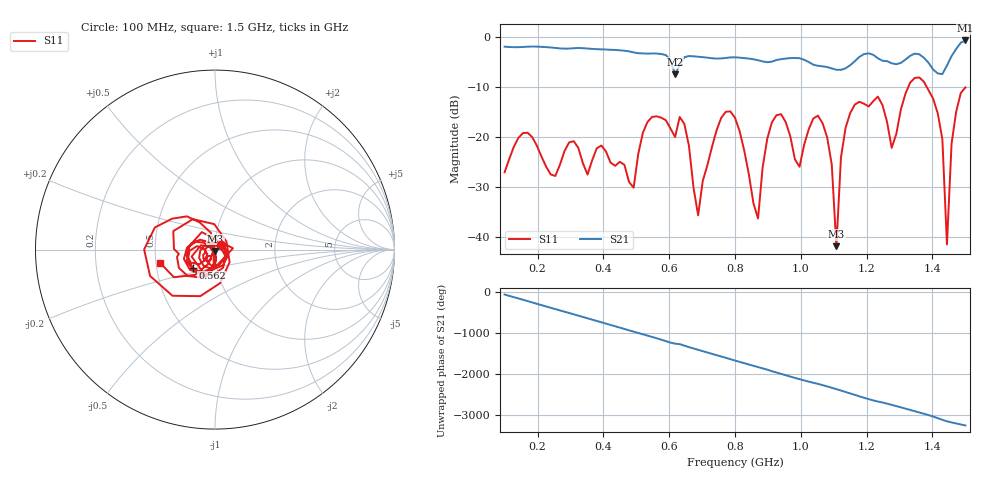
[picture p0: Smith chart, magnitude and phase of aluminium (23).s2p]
! NanoVNA-App
! Date: 2025-09-25 14:55:27
! Start: 100MHz Stop: 1,5GHz Points: 101
! S-Parameter data: F S11 S21 S12 S22
# Hz S RI R 50
!  Frequency  S11_Real  S11_Imag  S21_Real  S21_Imag  S12_Real  S12_Imag  S22_Real  S22_Imag
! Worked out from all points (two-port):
!   101 points, 100 MHz to 1.5 GHz, reference 50 ohm
!   highest |S21| = -0.68 dB at 1.5 GHz (marker M1); lowest = -7.4 dB at 618 MHz (marker M2)
!   |S21| within 3 dB of the highest: start of sweep to 591.1 MHz; 1.185 GHz to 1.223 GHz (37.84 MHz wide, 3.14 % of centre) (the widest 2 of 4)
!   lowest |S11| = -41.8 dB at 1.108 GHz (marker M3), VSWR 1.02, Z = 50.2 - j0.802 ohm
!   |S11| at or under -10 dB: start of sweep to 1.326 GHz; 1.383 GHz to end of sweep
!   S12 and S22 are empty: the file has one direction only
!   S11 on the Smith chart (normalised r, x): 100 MHz: 1.07, +0.06; 562 MHz: 0.76, -0.16; 1.5 GHz: 0.53, -0.09
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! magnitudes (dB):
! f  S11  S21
! 100 MHz  -27.0  -1.9
! 338 MHz  -25.2  -2.2
! 492 MHz  -30.1  -3.1
! 562 MHz  -15.8  -3.3
! 576 MHz  -16.1  -3.4
! 618 MHz  -20.0  -7.4
! 688 MHz  -35.6  -3.9
! 800 MHz  -16.1  -4.0
! 870 MHz  -36.2  -4.6
! 912 MHz  -17.0  -4.9
! 996 MHz  -25.9  -4.2
! 1.038 GHz  -16.3  -5.5
! 1.08 GHz  -20.0  -6.0
! 1.108 GHz  -41.8  -6.5
! 1.122 GHz  -24.0  -6.5
! 1.164 GHz  -13.5  -4.8
! 1.276 GHz  -22.1  -5.2
! 1.374 GHz  -8.9  -4.1
! 1.43 GHz  -20.4  -7.4
! 1.444 GHz  -41.4  -5.7
! 1.458 GHz  -21.3  -3.8
! 1.5 GHz  -10.1  -0.7
